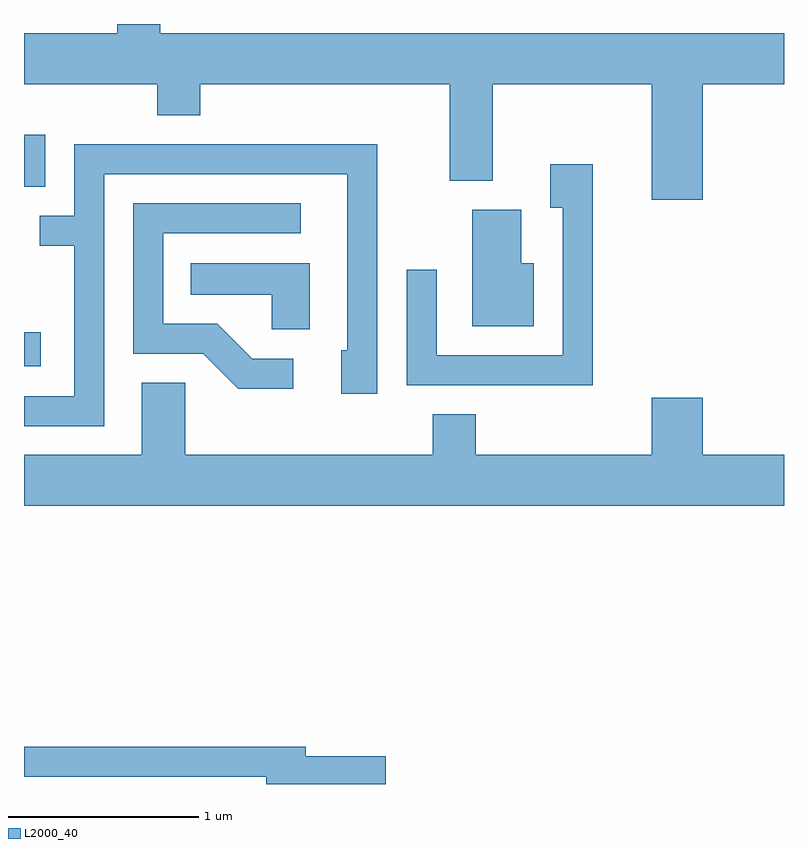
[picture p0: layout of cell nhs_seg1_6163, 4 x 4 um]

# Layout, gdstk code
import gdstk
lib = gdstk.Library(unit=1e-6, precision=1e-09)
def R(c, l, rs):  # rectangles x0, y0, x1, y1
    for r in rs: c.add(gdstk.rectangle(r[:2], r[2:], *l))
def P(c, l, *ps):  # polygons
    for p in ps: c.add(gdstk.Polygon(p, *l))
L2000_40 = (2000, 40)

nhs_seg1_6163 = lib.new_cell('nhs_seg1_6163')
R(nhs_seg1_6163, L2000_40, [(371.611,855.911,371.699,856.089), (371.611,856.856,371.724,857.128)])
P(nhs_seg1_6163, L2000_40, [(375.184,857.396),(375.611,857.396),(375.611,857.664),(372.329,857.664),(372.329,857.712),(372.101,857.712),(372.101,857.664),(371.611,857.664),(371.611,857.396),(372.311,857.396),(372.311,857.231),(372.539,857.231),(372.539,857.396),(373.851,857.396),(373.851,856.886),(374.079,856.886),(374.079,857.396),(374.916,857.396),(374.916,856.786),(375.184,856.786)],
  [(372.034,856.921),(373.311,856.921),(373.311,855.994),(373.281,855.994),(373.281,855.766),(373.469,855.766),(373.469,857.079),(371.876,857.079),(371.876,856.704),(371.693,856.704),(371.693,856.546),(371.876,856.546),(371.876,855.754),(371.611,855.754),(371.611,855.596),(372.034,855.596)],
  [(374.604,856.974),(374.381,856.974),(374.381,856.746),(374.446,856.746),(374.446,855.969),(373.784,855.969),(373.784,856.418),(373.626,856.418),(373.626,855.811),(374.604,855.811)],
  [(373.028,855.949),(372.812,855.949),(372.627,856.134),(372.344,856.134),(372.344,856.611),(373.068,856.611),(373.068,856.769),(372.186,856.769),(372.186,855.976),(372.554,855.976),(372.739,855.791),(373.028,855.791)],
  [(374.294,856.454),(374.229,856.454),(374.229,856.734),(373.971,856.734),(373.971,856.121),(374.294,856.121)],
  [(373.114,856.454),(372.488,856.454),(372.488,856.286),(372.916,856.286),(372.916,856.106),(373.114,856.106)],
  [(375.611,855.444),(375.184,855.444),(375.184,855.744),(374.916,855.744),(374.916,855.444),(373.989,855.444),(373.989,855.659),(373.761,855.659),(373.761,855.444),(372.459,855.444),(372.459,855.824),(372.231,855.824),(372.231,855.444),(371.611,855.444),(371.611,855.176),(375.611,855.176)],
  [(373.514,853.859),(373.094,853.859),(373.094,853.909),(371.611,853.909),(371.611,853.751),(372.886,853.751),(372.886,853.712),(373.514,853.712)])

lib.write_gds('nhs_seg1_6163.gds')
